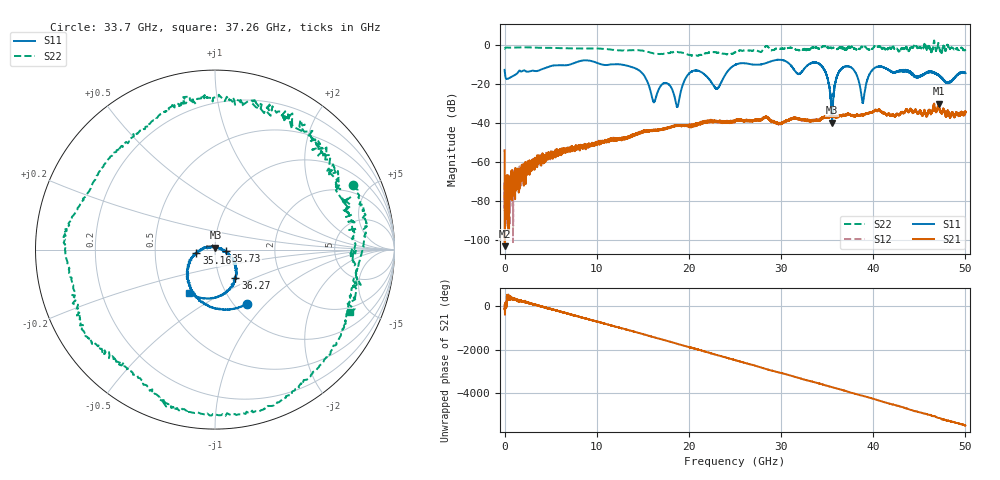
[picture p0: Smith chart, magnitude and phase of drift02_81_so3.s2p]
!Created with skrf (http://scikit-rf.org).
# Hz S RI R 50.0
!freq ReS11 ImS11 ReS21 ImS21 ReS12 ImS12 ReS22 ImS22
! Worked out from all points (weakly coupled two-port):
!   10001 points, 300 kHz to 50 GHz, reference 50 ohm
!   highest |S21| = -30.21 dB at 47.09 GHz (marker M1); lowest = -103.3 dB at 20.3 MHz (marker M2)
!   lowest |S11| = -39.9 dB at 35.54 GHz (marker M3), VSWR 1.02, Z = 50.2 + j0.989 ohm
!   |S11| at or under -10 dB: start of sweep to 7.176 GHz; 12.39 GHz to 25.18 GHz (12.79 GHz wide, 68.1 % of centre); 34.22 GHz to end of sweep (the widest 3 of 16)
!   |S22| runs from -5.7 to 2.2 dB; largest |S21 - S12| = 0.0034
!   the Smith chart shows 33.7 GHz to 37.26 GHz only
!   S11 on the Smith chart (normalised r, x): 33.7 GHz: 1.14, -0.79; 35.16 GHz: 0.81, -0.03; 35.73 GHz: 1.13, -0.02; 36.27 GHz: 1.19, -0.39; 37.26 GHz: 0.67, -0.35
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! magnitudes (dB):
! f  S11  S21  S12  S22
! 300 kHz  -12.9  -54.1  -70.8  -2.1
! 20.3 MHz  -13.8  -103.3  -75.4  -1.9
! 265.3 MHz  -17.6  -89.5  -72.6  -1.4
! 8.335 GHz  -8.2  -53.0  -51.6  -1.9
! 14.04 GHz  -11.8  -46.4  -46.1  -2.8
! 16.67 GHz  -23.4  -43.7  -43.7  -4.7
! 18.74 GHz  -31.9  -41.6  -41.2  -3.7
! 20.24 GHz  -13.9  -41.8  -41.6  -5.4
! 23.04 GHz  -22.5  -39.6  -39.5  -4.1
! 25 GHz  -10.4  -39.1  -39.0  -3.9
! 33.34 GHz  -9.3  -38.6  -38.5  -1.6
! 33.7 GHz  -9.1  -38.8  -38.6  -1.4
! 35.16 GHz  -19.5  -37.4  -37.2  -1.7
! 35.54 GHz  -39.9  -36.6  -36.6  -1.7
! 35.73 GHz  -24.1  -36.8  -36.9  -1.7
! 36.27 GHz  -14.2  -36.4  -36.7  -1.6
! 37.26 GHz  -11.0  -35.3  -35.7  -1.6
! 38.86 GHz  -29.9  -36.0  -36.0  -1.3
! 39.96 GHz  -12.7  -34.5  -34.6  -1.9
! 41.67 GHz  -12.9  -35.6  -35.6  -1.9
! 47.09 GHz  -15.6  -30.2  -30.2  0.9
! 50 GHz  -14.6  -34.4  -34.1  -2.7
